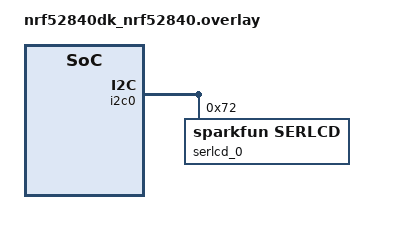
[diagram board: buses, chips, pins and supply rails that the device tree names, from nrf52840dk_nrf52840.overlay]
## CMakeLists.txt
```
cmake_minimum_required(VERSION 3.20.0)

find_package(Zephyr REQUIRED HINTS $ENV{ZEPHYR_BASE})
project(serlcd-tester
  VERSION ${VERSION}
  LANGUAGES CXX C
  DESCRIPTION "SerLCD Tester"
)

set(CMAKE_CXX_STANDARD 23)
set(CMAKE_C_STANDARD 23)
set(CXX_STANDARD_REQUIRED ON)
set(C_STANDARD_REQUIRED ON)

FILE(GLOB app_sources src/*.c src/*.cpp)
target_sources(app PRIVATE ${app_sources})

target_include_directories(app PRIVATE ${CMAKE_SOURCE_DIR})
```

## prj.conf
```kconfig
CONFIG_NCS_SAMPLES_DEFAULTS=y
CONFIG_DK_LIBRARY=y

CONFIG_STDOUT_CONSOLE=y
CONFIG_USE_SEGGER_RTT=y
CONFIG_RTT_CONSOLE=y

CONFIG_REBOOT=y

CONFIG_I2C=y
CONFIG_AUXDISPLAY=y
CONFIG_AUXDISPLAY_SERLCD=y
```

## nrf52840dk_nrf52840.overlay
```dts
// To get started, press Ctrl+Space (or Option+Esc) to bring up the completion menu and view the available nodes.

// You can also use the buttons in the sidebar to perform actions on nodes.
// Actions currently available include:

// * Enabling / disabling the node
// * Adding the bus to a bus
// * Removing the node
// * Connecting ADC channels

// For more help, browse the DeviceTree documentation at https: //docs.zephyrproject.org/latest/guides/dts/index.html
// You can also visit the nRF DeviceTree extension documentation at https: //nrfconnect.github.io/vscode-nrf-connect/devicetree/nrfdevicetree.html

&i2c0 {
  serlcd_0: serlcd@72 {
    compatible = "sparkfun,serlcd";
    columns = <20>;
    rows = <4>;
    reg = <0x72>;
  };
};
```

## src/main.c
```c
#include <string.h>
#include <zephyr/device.h>
#include <zephyr/drivers/auxdisplay.h>
#include <zephyr/kernel.h>
#include <zephyr/logging/log.h>

LOG_MODULE_REGISTER(auxdisplay_sample, LOG_LEVEL_DBG);

int main(void)
{
    const struct device *const dev = DEVICE_DT_GET(DT_NODELABEL(serlcd_0));

    uint8_t data[64];

    k_sleep(K_MSEC(500));

    if (!device_is_ready(dev)) {
        LOG_ERR("Auxdisplay device not ready");
        return 0;
    }

    int rc = auxdisplay_cursor_set_enabled(dev, true);

    if (rc != 0) {
        LOG_ERR("Cursor enable failed: %d", rc);
    }

    auxdisplay_cursor_position_set(dev, AUXDISPLAY_POSITION_ABSOLUTE, 0, 0);
    snprintk(data, sizeof(data), "Board: %s", CONFIG_BOARD);
    rc = auxdisplay_write(dev, data, strlen(data));

    if (rc != 0) {
        LOG_ERR("Write failed: %d", rc);
    }

    int counter = 1;

    for (;;) {
        snprintk(data, sizeof(data), "Count: %i", counter);
        auxdisplay_cursor_position_set(dev, AUXDISPLAY_POSITION_ABSOLUTE, 0, 1);
        auxdisplay_write(dev, data, strlen(data));
        k_sleep(K_MSEC(1000));
        ++counter;
    }
    return 0;
}
```
